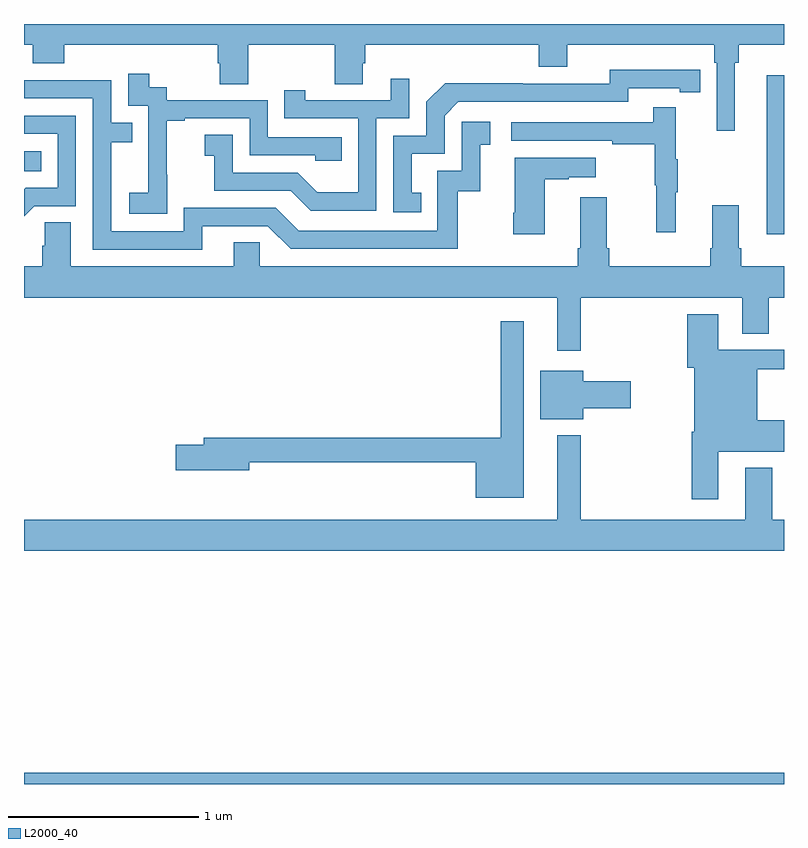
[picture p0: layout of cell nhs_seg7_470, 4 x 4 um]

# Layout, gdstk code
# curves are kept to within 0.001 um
import gdstk
lib = gdstk.Library(unit=1e-6, precision=1e-09)
def R(c, l, rs):  # rectangles x0, y0, x1, y1
    for r in rs: c.add(gdstk.rectangle(r[:2], r[2:], *l))
def P(c, l, *ps):  # polygons
    for p in ps: c.add(gdstk.Polygon(p, *l))
L2000_40 = (2000, 40)

nhs_seg7_470 = lib.new_cell('nhs_seg7_470')
R(nhs_seg7_470, L2000_40, [(147,1054,151,1054.06), (150.908,1056.894,151,1057.729), (147,1057.226,147.092,1057.33)])
P(nhs_seg7_470, L2000_40, [(150.742,1057.796),(150.761,1057.796),(150.761,1057.892),(151,1057.892),(151,1058),(147,1058),(147,1057.892),(147.047,1057.892),(147.047,1057.793),(147.212,1057.793),(147.212,1057.892),(148.019,1057.892),(148.019,1057.794),(148.031,1057.794),(148.031,1057.684),(148.179,1057.684),(148.179,1057.892),(148.636,1057.892),(148.636,1057.684),(148.783,1057.684),(148.783,1057.794),(148.796,1057.794),(148.796,1057.892),(149.708,1057.892),(149.708,1057.775),(149.86,1057.775),(149.86,1057.892),(150.632,1057.892),(150.632,1057.796),(150.645,1057.796),(150.645,1057.437),(150.742,1057.437)],
  [(149.09,1057.113),(149.041,1057.113),(149.041,1057.317),(149.214,1057.317),(149.214,1057.518),(149.286,1057.59),(150.18,1057.59),(150.18,1057.662),(150.452,1057.662),(150.452,1057.642),(150.56,1057.642),(150.56,1057.758),(150.084,1057.759),(150.084,1057.686),(149.624,1057.686),(149.624,1057.688),(149.216,1057.688),(149.118,1057.59),(149.118,1057.413),(148.944,1057.413),(148.944,1057.008),(149.09,1057.008)],
  [(147.753,1057.207),(147.752,1057.207),(147.752,1057.491),(147.847,1057.491),(147.847,1057.503),(148.188,1057.503),(148.188,1057.308),(148.533,1057.308),(148.533,1057.281),(148.673,1057.281),(148.673,1057.404),(148.284,1057.404),(148.284,1057.599),(147.75,1057.599),(147.75,1057.668),(147.658,1057.668),(147.658,1057.738),(147.549,1057.738),(147.549,1057.569),(147.654,1057.569),(147.654,1057.34),(147.653,1057.34),(147.653,1057.111),(147.555,1057.111),(147.555,1057.001),(147.753,1057.001)],
  [(148.854,1057.503),(149.028,1057.503),(149.028,1057.711),(148.931,1057.711),(148.931,1057.599),(148.48,1057.599),(148.48,1057.651),(148.369,1057.651),(148.369,1057.503),(148.758,1057.503),(148.758,1057.114),(148.544,1057.114),(148.44,1057.218),(148.098,1057.218),(148.098,1057.417),(147.951,1057.417),(147.951,1057.307),(148,1057.307),(148,1057.122),(148.403,1057.122),(148.508,1057.017),(148.854,1057.017)],
  [(147.937,1056.936),(148.284,1056.936),(148.404,1056.816),(149.284,1056.816),(149.284,1057.119),(149.402,1057.119),(149.402,1057.365),(149.455,1057.365),(149.455,1057.486),(149.304,1057.486),(149.304,1057.227),(149.175,1057.227),(149.175,1056.912),(148.446,1056.912),(148.326,1057.032),(147.84,1057.032),(147.84,1056.909),(147.459,1056.909),(147.459,1057.378),(147.569,1057.378),(147.569,1057.479),(147.459,1057.479),(147.459,1057.704),(147,1057.704),(147,1057.608),(147.363,1057.608),(147.363,1056.813),(147.937,1056.813)],
  [(150.431,1057.115),(150.442,1057.115),(150.442,1057.289),(150.431,1057.289),(150.431,1057.561),(150.313,1057.561),(150.313,1057.482),(149.565,1057.482),(149.565,1057.386),(150.097,1057.386),(150.097,1057.366),(150.321,1057.366),(150.321,1057.152),(150.328,1057.152),(150.328,1056.903),(150.431,1056.903)],
  [(147.054,1057.041),(147.273,1057.041),(147.273,1057.518),(147,1057.518),(147,1057.422),(147.177,1057.422),(147.177,1057.137),(147.008,1057.137),(147,1057.129),(147,1056.987)],
  [(149.74,1057.183),(149.867,1057.183),(149.867,1057.193),(150.01,1057.193),(150.01,1057.297),(149.582,1057.297),(149.582,1057.006),(149.575,1057.006),(149.575,1056.894),(149.74,1056.894)],
  [(149.929,1056.56),(150.779,1056.56),(150.779,1056.37),(150.919,1056.37),(150.919,1056.56),(151,1056.56),(151,1056.724),(150.776,1056.724),(150.776,1056.82),(150.763,1056.82),(150.763,1057.045),(150.623,1057.045),(150.623,1056.82),(150.611,1056.82),(150.611,1056.724),(150.08,1056.724),(150.08,1056.82),(150.067,1056.82),(150.067,1057.087),(149.927,1057.087),(149.927,1056.82),(149.915,1056.82),(149.915,1056.724),(148.242,1056.724),(148.242,1056.851),(148.103,1056.851),(148.103,1056.724),(147.247,1056.724),(147.247,1056.956),(147.108,1056.956),(147.108,1056.833),(147.095,1056.833),(147.095,1056.724),(147,1056.724),(147,1056.56),(149.807,1056.56),(149.807,1056.279),(149.929,1056.279)],
  [(150.655,1055.75),(151,1055.75),(151,1055.914),(150.859,1055.914),(150.859,1056.184),(151,1056.184),(151,1056.285),(150.655,1056.285),(150.655,1056.472),(150.491,1056.472),(150.491,1056.192),(150.527,1056.192),(150.527,1055.854),(150.515,1055.854),(150.515,1055.499),(150.655,1055.499)],
  [(149.629,1056.436),(149.508,1056.436),(149.508,1055.822),(147.947,1055.822),(147.947,1055.786),(147.798,1055.786),(147.798,1055.651),(148.186,1055.651),(148.186,1055.694),(149.378,1055.694),(149.378,1055.507),(149.629,1055.507)],
  [(149.944,1055.978),(150.193,1055.978),(150.193,1056.12),(149.944,1056.12),(149.944,1056.175),(149.717,1056.175),(149.717,1055.921),(149.944,1055.921)],
  [(151,1055.392),(150.937,1055.392),(150.937,1055.665),(150.797,1055.665),(150.797,1055.392),(149.929,1055.392),(149.929,1055.836),(149.807,1055.836),(149.807,1055.392),(147,1055.392),(147,1055.228),(151,1055.228)])

lib.write_gds('nhs_seg7_470.gds')
